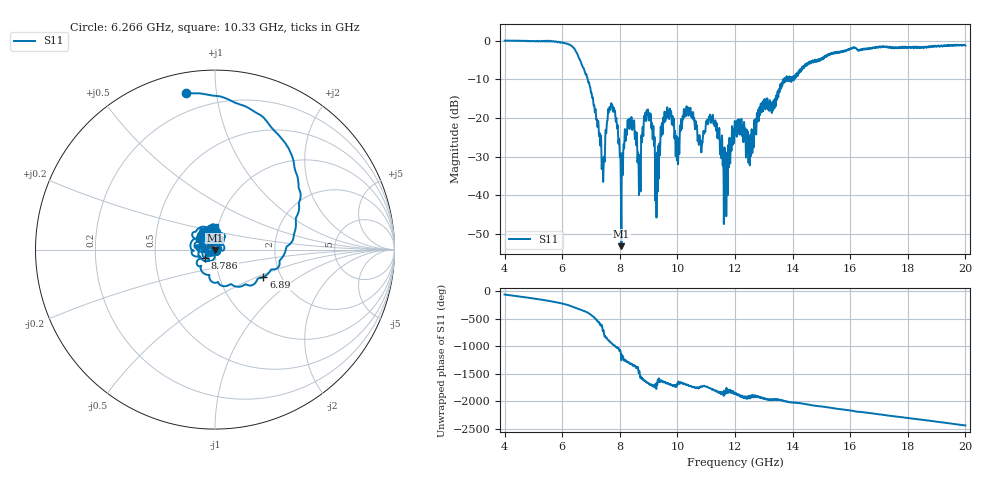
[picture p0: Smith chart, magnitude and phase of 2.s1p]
[Version] 2.0
! Rohde & Schwarz Vector Network Analyzer
! Rohde-Schwarz,ZNL20-2Port,1323001220200009,1.71.1.10-23.02.1.238
! Port Assignments:
! Nominal Port -> Actual Test Port
!  1 -> 1
! Created: GMT+2 2025-01-17 12:44:34
# Hz S RI R 50
[Number of Ports] 1
! freq[Hz]  S11[Re]  S11[Im]
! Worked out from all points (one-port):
!   16001 points, 4 GHz to 20 GHz, reference 50 ohm
!   lowest |S11| = -53.2 dB at 8.056 GHz (marker M1), VSWR 1.00, Z = 49.9 - j0.201 ohm
!   |S11| at or under -10 dB: 6.886 GHz to 13.7 GHz (6.812 GHz wide, 66.2 % of centre); 13.712 GHz to 13.73982 GHz (27.82 MHz wide, 0.203 % of centre); 13.94132 GHz to 13.96415 GHz (22.83 MHz wide, 0.164 % of centre)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
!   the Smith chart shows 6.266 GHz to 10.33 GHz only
!   S11 on the Smith chart (normalised r, x): 6.266 GHz: 0.10, +0.83; 6.89 GHz: 1.62, -0.55; 8.786 GHz: 0.89, -0.08; 10.33 GHz: 0.97, +0.25
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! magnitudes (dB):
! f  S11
! 4 GHz  0.0
! 6 GHz  -0.5
! 6.266 GHz  -1.0
! 6.89 GHz  -10.2
! 7.401 GHz  -30.8
! 7.716 GHz  -16.7
! 7.862 GHz  -20.9
! 8 GHz  -30.1
! 8.056 GHz  -53.2
! 8.335 GHz  -22.8
! 8.659 GHz  -35.7
! 8.786 GHz  -22.8
! 9.006 GHz  -20.6
! 9.297 GHz  -29.6
! 9.488 GHz  -24.1
! 9.711 GHz  -20.2
! 10 GHz  -25.2
! 10.33 GHz  -17.8
! 10.8 GHz  -25.9
! 11.25 GHz  -21.5
! 11.67 GHz  -29.3
! 12 GHz  -21.4
! 12.54 GHz  -24.3
! 12.96 GHz  -18.3
! 14 GHz  -10.2
! 16 GHz  -2.0
! 18 GHz  -1.6
! 20 GHz  -1.2
